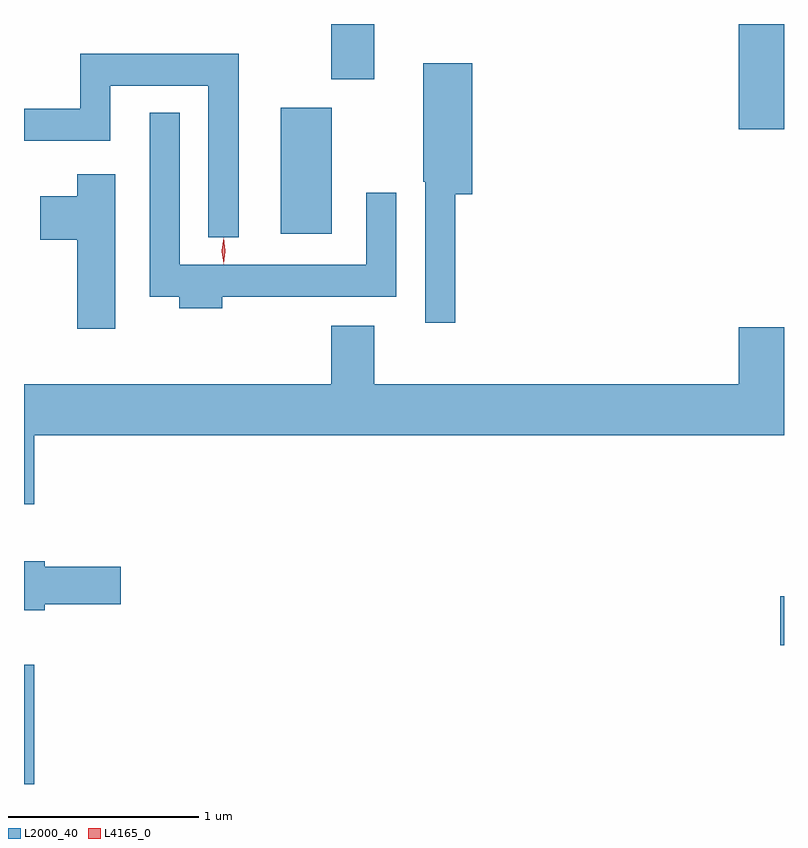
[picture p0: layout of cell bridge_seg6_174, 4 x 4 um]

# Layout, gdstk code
import gdstk
lib = gdstk.Library(unit=1e-6, precision=1e-09)
def R(c, l, rs):  # rectangles x0, y0, x1, y1
    for r in rs: c.add(gdstk.rectangle(r[:2], r[2:], *l))
def P(c, l, *ps):  # polygons
    for p in ps: c.add(gdstk.Polygon(p, *l))
L2000_40 = (2000, 40)
L4165_0 = (4165, 0)

bridge_seg6_174 = lib.new_cell('bridge_seg6_174')
R(bridge_seg6_174, L2000_40, [(1050.475,1577.061,1050.529,1577.688), (1054.456,1577.791,1054.475,1578.049), (1051.826,1579.956,1052.094,1580.619), (1054.236,1580.506,1054.475,1581.061), (1052.091,1580.771,1052.319,1581.061)])
P(bridge_seg6_174, L2000_40, [(1051.604,1580.904),(1050.771,1580.904),(1050.771,1580.614),(1050.475,1580.614),(1050.475,1580.446),(1050.929,1580.446),(1050.929,1580.736),(1051.446,1580.736),(1051.446,1579.938),(1051.604,1579.938)],
  [(1052.744,1580.166),(1052.834,1580.166),(1052.834,1580.854),(1052.576,1580.854),(1052.576,1580.23),(1052.586,1580.23),(1052.586,1579.488),(1052.744,1579.488)],
  [(1051.519,1579.626),(1052.434,1579.626),(1052.434,1580.173),(1052.276,1580.173),(1052.276,1579.794),(1051.294,1579.794),(1051.294,1580.593),(1051.136,1580.593),(1051.136,1579.626),(1051.291,1579.626),(1051.291,1579.566),(1051.519,1579.566)],
  [(1050.954,1580.269),(1050.756,1580.269),(1050.756,1580.154),(1050.561,1580.154),(1050.561,1579.926),(1050.756,1579.926),(1050.756,1579.456),(1050.954,1579.456)],
  [(1050.529,1578.896),(1054.475,1578.896),(1054.475,1579.464),(1054.236,1579.464),(1054.236,1579.164),(1052.319,1579.164),(1052.319,1579.474),(1052.091,1579.474),(1052.091,1579.164),(1050.475,1579.164),(1050.475,1578.533),(1050.529,1578.533)],
  [(1050.584,1578.006),(1050.984,1578.006),(1050.984,1578.204),(1050.584,1578.204),(1050.584,1578.234),(1050.475,1578.234),(1050.475,1577.976),(1050.584,1577.976)])
P(bridge_seg6_174, L4165_0, [(1051.525,1579.799),(1051.525,1579.8),(1051.515,1579.866),(1051.525,1579.932),(1051.525,1579.933),(1051.526,1579.932),(1051.535,1579.866),(1051.526,1579.8)],
  [(1051.525,1579.797),(1051.525,1579.798),(1051.515,1579.867),(1051.525,1579.936),(1051.525,1579.936),(1051.526,1579.936),(1051.535,1579.867),(1051.526,1579.798)])

lib.write_gds('bridge_seg6_174.gds')
